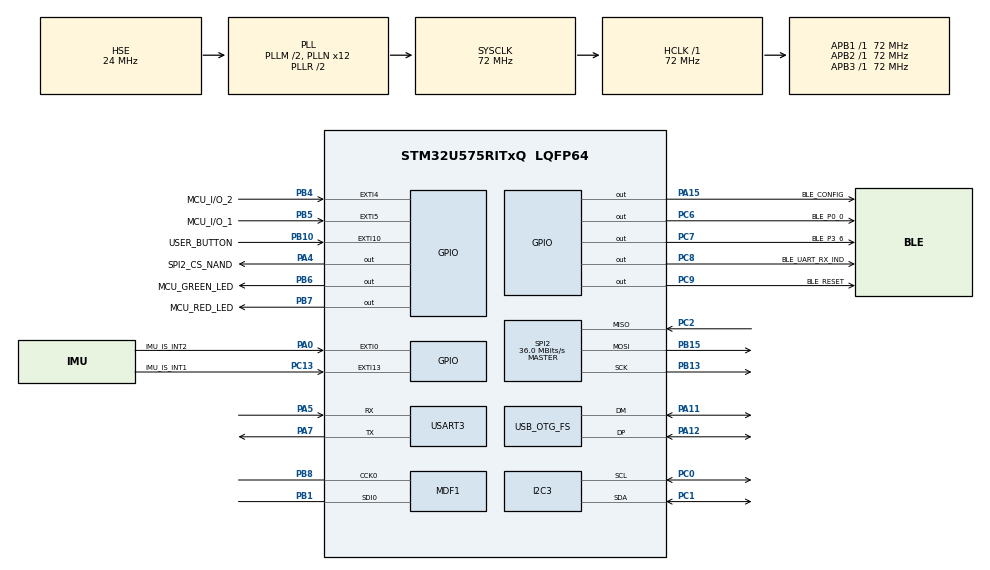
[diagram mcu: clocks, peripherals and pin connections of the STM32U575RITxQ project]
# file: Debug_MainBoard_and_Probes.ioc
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CORTEX_M33_NS.userName=CORTEX_M33
I2C3.Timing=0x10808DD3
MDF1.MDF_COMPARAM_ActivationClockTrigger=ENABLE
MDF1.MDF_COMPARAM_ActivationOutputClock=ENABLE
MDF1.MDF_COMPARAM_Divider=5
MDF1.MDF_COMPARAM_Pins=MDF_OUTPUT_CLOCK_ALL
MDF1.MDF_DFLT0_AcquisitionMode=MDF_MODE_SYNC_CONT
MDF1.MDF_DFLT0_CIC_Mode=MDF_ONE_FILTER_SINC5
MDF1.MDF_DFLT0_Decimation=16
MDF1.MDF_DFLT0_DiscardSamples=255
MDF1.MDF_DFLT0_Gain=1
MDF1.MDF_DFLT0_HighPassFilterActivation=ENABLE
MDF1.MDF_DFLT0_ReshapeFilterActivation=ENABLE
MDF1.MDF_SITF0_Mode_Display=MDF_SITF_NORMAL_SPI_MODE
MDF1.MDF_SITF0_Threshold=31
Mcu.Family=STM32U5
Mcu.Name=STM32U575RITxQ
Mcu.Package=LQFP64
NVIC.EXTI0_IRQn=true\:0\:0\:false\:false\:true\:true\:true\:true
NVIC.EXTI10_IRQn=true\:0\:0\:false\:false\:true\:true\:true\:true
NVIC.EXTI13_IRQn=true\:0\:0\:false\:false\:true\:true\:true\:true
NVIC.EXTI4_IRQn=true\:0\:0\:false\:false\:true\:true\:true\:true
NVIC.EXTI5_IRQn=true\:0\:0\:false\:false\:true\:true\:true\:true
NVIC.MDF1_FLT0_IRQn=true\:0\:0\:false\:false\:true\:true\:true\:true
NVIC.OTG_FS_IRQn=true\:0\:0\:false\:false\:true\:true\:true\:true
NVIC.PriorityGroup=NVIC_PRIORITYGROUP_4
NVIC.USART3_IRQn=true\:0\:0\:false\:false\:true\:true\:true\:true
PA0.GPIO_Label=IMU_IS_INT2
PA0.Signal=GPXTI0
PA11.GPIO_Speed=GPIO_SPEED_FREQ_VERY_HIGH
PA11.Mode=Device_Only
PA11.Signal=USB_OTG_FS_DM
PA12.GPIO_Speed=GPIO_SPEED_FREQ_VERY_HIGH
PA12.Mode=Device_Only
PA12.Signal=USB_OTG_FS_DP
PA13\ (JTMS/SWDIO).Mode=Trace_Asynchronous_SW
PA13\ (JTMS/SWDIO).Signal=DEBUG_JTMS-SWDIO
PA14\ (JTCK/SWCLK).Mode=Trace_Asynchronous_SW
PA14\ (JTCK/SWCLK).Signal=DEBUG_JTCK-SWCLK
PA15\ (JTDI).GPIO_Label=BLE_CONFIG
PA15\ (JTDI).PinState=GPIO_PIN_SET
PA15\ (JTDI).Signal=GPIO_Output
PA4.GPIO_Label=SPI2_CS_NAND
PA4.Signal=GPIO_Output
PA5.Mode=Asynchronous
PA5.Signal=USART3_RX
PA7.Mode=Asynchronous
PA7.Signal=USART3_TX
PA9.Signal=USB_OTG_FS_VBUS
PB1.GPIO_Speed=GPIO_SPEED_FREQ_VERY_HIGH
PB1.Mode=MOD_MDF_SITF0_CCK0
PB1.Signal=MDF1_SDI0
PB10.GPIO_Label=USER_BUTTON
PB10.GPIO_ModeDefaultEXTI=GPIO_MODE_IT_RISING_FALLING
PB10.GPIO_PuPd=GPIO_PULLDOWN
PB10.Signal=GPXTI10
PB13.Mode=Full_Duplex_Master
PB13.Signal=SPI2_SCK
PB15.Mode=Full_Duplex_Master
PB15.Signal=SPI2_MOSI
PB3\ (JTDO/TRACESWO).Mode=Trace_Asynchronous_SW
PB3\ (JTDO/TRACESWO).Signal=DEBUG_JTDO-SWO
PB4\ (NJTRST).GPIO_Label=MCU_I/O_2
PB4\ (NJTRST).Signal=GPXTI4
PB5.GPIO_Label=MCU_I/O_1
PB5.Signal=GPXTI5
PB6.GPIO_Label=MCU_GREEN_LED
PB6.Signal=GPIO_Output
PB7.GPIO_Label=MCU_RED_LED
PB7.Signal=GPIO_Output
PB8.GPIO_FM8=SYSCFG_FASTMODEPLUS_PB8
PB8.GPIO_Speed=GPIO_SPEED_FREQ_VERY_HIGH
PB8.Mode=MOD_MDF_CCK0
PB8.Signal=MDF1_CCK0
PC0.Mode=I2C
PC0.Signal=I2C3_SCL
PC1.Mode=I2C
PC1.Signal=I2C3_SDA
PC13.GPIO_Label=IMU_IS_INT1
PC13.Signal=GPXTI13
PC14-OSC32_IN\ (PC14).Mode=LSE-External-Oscillator
PC14-OSC32_IN\ (PC14).Signal=RCC_OSC32_IN
PC15-OSC32_OUT\ (PC15).Mode=LSE-External-Oscillator
PC15-OSC32_OUT\ (PC15).Signal=RCC_OSC32_OUT
PC2.Mode=Full_Duplex_Master
PC2.Signal=SPI2_MISO
PC6.GPIO_Label=BLE_P0_0
PC6.Signal=GPIO_Output
PC7.GPIO_Label=BLE_P3_6
PC7.Signal=GPIO_Output
PC8.GPIO_Label=BLE_UART_RX_IND
PC8.Signal=GPIO_Output
PC9.GPIO_Label=BLE_RESET
PC9.Signal=GPIO_Output
PH0-OSC_IN\ (PH0).Mode=HSE-External-Oscillator
PH0-OSC_IN\ (PH0).Signal=RCC_OSC_IN
PH1-OSC_OUT\ (PH1).Mode=HSE-External-Oscillator
PH1-OSC_OUT\ (PH1).Signal=RCC_OSC_OUT
ProjectManager.HeapSize=0x400
ProjectManager.StackSize=0x800
ProjectManager.TargetToolchain=CMake
RCC.ADCFreq_Value=16000000
RCC.AHBFreq_Value=72000000
RCC.APB1Freq_Value=72000000
RCC.APB1TimFreq_Value=72000000
RCC.APB2Freq_Value=72000000
RCC.APB2TimFreq_Value=72000000
RCC.APB3Freq_Value=72000000
RCC.CK48CLockSelection=RCC_CLK48CLKSOURCE_PLL1
RCC.CortexFreq_Value=72000000
RCC.EPOD_VALUE=24000000
RCC.HCLKFreq_Value=72000000
RCC.HSE_VALUE=24000000
RCC.HSI48_VALUE=48000000
RCC.HSI_VALUE=16000000
RCC.LSIDIV_VALUE=32000
RCC.MSIClockRange=RCC_MSIRANGE_0
RCC.MSI_VALUE=48000000
RCC.MdfClockSelection=RCC_MDF1CLKSOURCE_PLL3
RCC.PLL1Q=3
RCC.PLL2FRACN=0
RCC.PLL3FRACN=0
RCC.PLL3M=3
RCC.PLL3N=48
RCC.PLL3Q=25
RCC.PLL3Source=RCC_PLLSOURCE_HSE
RCC.PLLFRACN=0
RCC.PLLM=2
RCC.PLLN=12
RCC.PLLSourceVirtual=RCC_PLLSOURCE_HSE
RCC.SYSCLKFreq_VALUE=72000000
RCC.SYSCLKSource=RCC_SYSCLKSOURCE_PLLCLK
RCC.USBFreq_Value=48000000
RCC.VCOOutputFreq_Value=144000000
SPI2.CalculateBaudRate=36.0 MBits/s
SPI2.DataSize=SPI_DATASIZE_8BIT
SPI2.Direction=SPI_DIRECTION_2LINES
SPI2.Mode=SPI_MODE_MASTER
SPI2.VirtualType=VM_MASTER
USART3.VirtualMode-Asynchronous=VM_ASYNC
USB_OTG_FS.VirtualMode=Device_Only
VP_ICACHE_VS_ENABLE_ICACHE_MEMORY.Mode=Memoryregions
VP_LPBAMQUEUE_VS_QUEUE.Mode=QUEUEMODE
VP_LPBAM_VS_SIG1.Mode=SmartRun
VP_LPBAM_VS_SIG4.Mode=LPDMA1
VP_MDF1_VS_MDF_DFLT0.Mode=MOD_MDF_DFLT0
VP_MEMORYMAP_VS_MEMORYMAP.Mode=CurAppReg
VP_PWR_VS_SECSignals.Mode=Security/Privilege
board=custom

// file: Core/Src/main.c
/* USER CODE BEGIN Header */
/**
  ******************************************************************************
  * @file           : main.c
  * @brief          : Main program body
  ******************************************************************************
  * @attention
  *
  * Copyright (c) 2025 STMicroelectronics.
  * All rights reserved.
  *
  * This software is licensed under terms that can be found in the LICENSE file
  * in the root directory of this software component.
  * If no LICENSE file comes with this software, it is provided AS-IS.
  *
  ******************************************************************************
  */
/* USER CODE END Header */
#include "main.h"

/* USER CODE BEGIN Includes */
#include "string.h"
#include "stdio.h"
#include "peripheral_tests.h"
#include "../../USB_Device/App/usb_device.h"
#include "Bluetooth.h"
#include "SPI.h"
#include "SPI_NAND.h"
#include "SPI_DMA_NAND.h"
#include "led_driver.h"

/* USER CODE END Includes */

I2C_HandleTypeDef hi2c3;

MDF_HandleTypeDef MdfHandle0;
MDF_FilterConfigTypeDef MdfFilterConfig0;

SPI_HandleTypeDef hspi2;

UART_HandleTypeDef huart3;

PCD_HandleTypeDef hpcd_USB_OTG_FS;

/* USER CODE BEGIN PV */
/// ----- USB ----- ///
uint8_t flag = 0;
uint8_t sample_index = 0;
/* USER CODE END PV */

void SystemClock_Config(void);
static void MX_GPIO_Init(void);
static void MX_ICACHE_Init(void);
static void MX_I2C3_Init(void);
static void MX_USART3_UART_Init(void);
static void MX_USB_OTG_FS_PCD_Init(void);
static void MX_MDF1_Init(void);
static void MX_SPI2_Init(void);

int main(void)
{

  /* MCU Configuration--------------------------------------------------------*/

  /* Reset of all peripherals, Initializes the Flash interface and the Systick. */
  HAL_Init();

  /* Configure the system clock */
  SystemClock_Config();

  /* Initialize all configured peripherals */
  MX_GPIO_Init();
  MX_ICACHE_Init();
  MX_I2C3_Init();
  MX_USART3_UART_Init();
  MX_USB_OTG_FS_PCD_Init();
  MX_MDF1_Init();
  MX_SPI2_Init();
  /* USER CODE BEGIN 2 */
   BLE_Initialize();  // BLE initial setup

   MX_USB_Device_Init(); // USB initial setup
   spi_nand_init(); // NAND initial setup

   LED_On(LED_GREEN);
   LED_On(LED_RED);

   HAL_Delay(1000);

   LED_Off(LED_GREEN);
   LED_Off(LED_RED);

	#if RUN_BLE_TEST
		test_BLE(&huart3);
		HAL_Delay(1000);
	#endif

  /* USER CODE END 2 */

  /* Infinite loop */
  while (1)
  {

    /* USER CODE BEGIN 3 */
		#if RUN_USB_TEST
		   test_USB_TX();
		#endif

		#if RUN_NAND_TEST
		   test_NAND();
		#endif

		#if RUN_IMU_IS_TEST
		   test_IMU_IS(&hi2c3);
		#endif
  }
  /* USER CODE END 3 */
}

void SystemClock_Config(void)
{
  RCC_OscInitTypeDef RCC_OscInitStruct = {0};
  RCC_ClkInitTypeDef RCC_ClkInitStruct = {0};

  /** Configure the main internal regulator output voltage
  */
  if (HAL_PWREx_ControlVoltageScaling(PWR_REGULATOR_VOLTAGE_SCALE2) != HAL_OK)
  {
    Error_Handler();
  }

  /** Initializes the CPU, AHB and APB buses clocks
  */
  RCC_OscInitStruct.OscillatorType = RCC_OSCILLATORTYPE_HSE;
  RCC_OscInitStruct.HSEState = RCC_HSE_ON;
  RCC_OscInitStruct.PLL.PLLState = RCC_PLL_ON;
  RCC_OscInitStruct.PLL.PLLSource = RCC_PLLSOURCE_HSE;
  RCC_OscInitStruct.PLL.PLLMBOOST = RCC_PLLMBOOST_DIV2;
  RCC_OscInitStruct.PLL.PLLM = 2;
  RCC_OscInitStruct.PLL.PLLN = 12;
  RCC_OscInitStruct.PLL.PLLP = 2;
  RCC_OscInitStruct.PLL.PLLQ = 3;
  RCC_OscInitStruct.PLL.PLLR = 2;
  RCC_OscInitStruct.PLL.PLLRGE = RCC_PLLVCIRANGE_1;
  RCC_OscInitStruct.PLL.PLLFRACN = 0;
  if (HAL_RCC_OscConfig(&RCC_OscInitStruct) != HAL_OK)
  {
    Error_Handler();
  }

  /** Initializes the CPU, AHB and APB buses clocks
  */
  RCC_ClkInitStruct.ClockType = RCC_CLOCKTYPE_HCLK|RCC_CLOCKTYPE_SYSCLK
                              |RCC_CLOCKTYPE_PCLK1|RCC_CLOCKTYPE_PCLK2
                              |RCC_CLOCKTYPE_PCLK3;
  RCC_ClkInitStruct.SYSCLKSource = RCC_SYSCLKSOURCE_PLLCLK;
  RCC_ClkInitStruct.AHBCLKDivider = RCC_SYSCLK_DIV1;
  RCC_ClkInitStruct.APB1CLKDivider = RCC_HCLK_DIV1;
  RCC_ClkInitStruct.APB2CLKDivider = RCC_HCLK_DIV1;
  RCC_ClkInitStruct.APB3CLKDivider = RCC_HCLK_DIV1;

  if (HAL_RCC_ClockConfig(&RCC_ClkInitStruct, FLASH_LATENCY_2) != HAL_OK)
  {
    Error_Handler();
  }
}

static void MX_I2C3_Init(void)
{

  hi2c3.Instance = I2C3;
  hi2c3.Init.Timing = 0x10808DD3;
  hi2c3.Init.OwnAddress1 = 0;
  hi2c3.Init.AddressingMode = I2C_ADDRESSINGMODE_7BIT;
  hi2c3.Init.DualAddressMode = I2C_DUALADDRESS_DISABLE;
  hi2c3.Init.OwnAddress2 = 0;
  hi2c3.Init.OwnAddress2Masks = I2C_OA2_NOMASK;
  hi2c3.Init.GeneralCallMode = I2C_GENERALCALL_DISABLE;
  hi2c3.Init.NoStretchMode = I2C_NOSTRETCH_DISABLE;
  if (HAL_I2C_Init(&hi2c3) != HAL_OK)
  {
    Error_Handler();
  }

  /** Configure Analogue filter
  */
  if (HAL_I2CEx_ConfigAnalogFilter(&hi2c3, I2C_ANALOGFILTER_ENABLE) != HAL_OK)
  {
    Error_Handler();
  }

  /** Configure Digital filter
  */
  if (HAL_I2CEx_ConfigDigitalFilter(&hi2c3, 0) != HAL_OK)
  {
    Error_Handler();
  }

}

static void MX_ICACHE_Init(void)
{

}

static void MX_MDF1_Init(void)
{

  /**
    MdfHandle0 structure initialization and HAL_MDF_Init function call
  */
  MdfHandle0.Instance = MDF1_Filter0;
  MdfHandle0.Init.CommonParam.InterleavedFilters = 0;
  MdfHandle0.Init.CommonParam.ProcClockDivider = 1;
  MdfHandle0.Init.CommonParam.OutputClock.Activation = ENABLE;
  MdfHandle0.Init.CommonParam.OutputClock.Pins = MDF_OUTPUT_CLOCK_ALL;
  MdfHandle0.Init.CommonParam.OutputClock.Divider = 5;
  MdfHandle0.Init.CommonParam.OutputClock.Trigger.Activation = ENABLE;
  MdfHandle0.Init.CommonParam.OutputClock.Trigger.Source = MDF_CLOCK_TRIG_TRGO;
  MdfHandle0.Init.CommonParam.OutputClock.Trigger.Edge = MDF_CLOCK_TRIG_FALLING_EDGE;
  MdfHandle0.Init.SerialInterface.Activation = ENABLE;
  MdfHandle0.Init.SerialInterface.Mode = MDF_SITF_NORMAL_SPI_MODE;
  MdfHandle0.Init.SerialInterface.ClockSource = MDF_SITF_CCK0_SOURCE;
  MdfHandle0.Init.SerialInterface.Threshold = 31;
  MdfHandle0.Init.FilterBistream = MDF_BITSTREAM0_RISING;
  if (HAL_MDF_Init(&MdfHandle0) != HAL_OK)
  {
    Error_Handler();
  }

  /**
    MdfFilterConfig0, MdfOldConfig0 and/or MdfScdConfig0 structures initialization

    WARNING : only structures are filled, no specific init function call for filter
  */
  MdfFilterConfig0.DataSource = MDF_DATA_SOURCE_BSMX;
  MdfFilterConfig0.Delay = 0;
  MdfFilterConfig0.CicMode = MDF_ONE_FILTER_SINC5;
  MdfFilterConfig0.DecimationRatio = 16;
  MdfFilterConfig0.Offset = 0;
  MdfFilterConfig0.Gain = 1;
  MdfFilterConfig0.ReshapeFilter.Activation = ENABLE;
  MdfFilterConfig0.ReshapeFilter.DecimationRatio = MDF_RSF_DECIMATION_RATIO_4;
  MdfFilterConfig0.HighPassFilter.Activation = ENABLE;
  MdfFilterConfig0.HighPassFilter.CutOffFrequency = MDF_HPF_CUTOFF_0_000625FPCM;
  MdfFilterConfig0.Integrator.Activation = DISABLE;
  MdfFilterConfig0.SoundActivity.Activation = DISABLE;
  MdfFilterConfig0.AcquisitionMode = MDF_MODE_SYNC_CONT;
  MdfFilterConfig0.FifoThreshold = MDF_FIFO_THRESHOLD_NOT_EMPTY;
  MdfFilterConfig0.DiscardSamples = 255;
  MdfFilterConfig0.Trigger.Source = MDF_CLOCK_TRIG_TRGO;
  MdfFilterConfig0.Trigger.Edge = MDF_FILTER_TRIG_RISING_EDGE;

}

static void MX_SPI2_Init(void)
{

  SPI_AutonomousModeConfTypeDef HAL_SPI_AutonomousMode_Cfg_Struct = {0};

  /* SPI2 parameter configuration*/
  hspi2.Instance = SPI2;
  hspi2.Init.Mode = SPI_MODE_MASTER;
  hspi2.Init.Direction = SPI_DIRECTION_2LINES;
  hspi2.Init.DataSize = SPI_DATASIZE_8BIT;
  hspi2.Init.CLKPolarity = SPI_POLARITY_LOW;
  hspi2.Init.CLKPhase = SPI_PHASE_1EDGE;
  hspi2.Init.NSS = SPI_NSS_SOFT;
  hspi2.Init.BaudRatePrescaler = SPI_BAUDRATEPRESCALER_2;
  hspi2.Init.FirstBit = SPI_FIRSTBIT_MSB;
  hspi2.Init.TIMode = SPI_TIMODE_DISABLE;
  hspi2.Init.CRCCalculation = SPI_CRCCALCULATION_DISABLE;
  hspi2.Init.CRCPolynomial = 0x7;
  hspi2.Init.NSSPMode = SPI_NSS_PULSE_ENABLE;
  hspi2.Init.NSSPolarity = SPI_NSS_POLARITY_LOW;
  hspi2.Init.FifoThreshold = SPI_FIFO_THRESHOLD_01DATA;
  hspi2.Init.MasterSSIdleness = SPI_MASTER_SS_IDLENESS_00CYCLE;
  hspi2.Init.MasterInterDataIdleness = SPI_MASTER_INTERDATA_IDLENESS_00CYCLE;
  hspi2.Init.MasterReceiverAutoSusp = SPI_MASTER_RX_AUTOSUSP_DISABLE;
  hspi2.Init.MasterKeepIOState = SPI_MASTER_KEEP_IO_STATE_DISABLE;
  hspi2.Init.IOSwap = SPI_IO_SWAP_DISABLE;
  hspi2.Init.ReadyMasterManagement = SPI_RDY_MASTER_MANAGEMENT_INTERNALLY;
  hspi2.Init.ReadyPolarity = SPI_RDY_POLARITY_HIGH;
  if (HAL_SPI_Init(&hspi2) != HAL_OK)
  {
    Error_Handler();
  }
  HAL_SPI_AutonomousMode_Cfg_Struct.TriggerState = SPI_AUTO_MODE_DISABLE;
  HAL_SPI_AutonomousMode_Cfg_Struct.TriggerSelection = SPI_GRP1_GPDMA_CH0_TCF_TRG;
  HAL_SPI_AutonomousMode_Cfg_Struct.TriggerPolarity = SPI_TRIG_POLARITY_RISING;
  if (HAL_SPIEx_SetConfigAutonomousMode(&hspi2, &HAL_SPI_AutonomousMode_Cfg_Struct) != HAL_OK)
  {
    Error_Handler();
  }

}

static void MX_USART3_UART_Init(void)
{

  huart3.Instance = USART3;
  huart3.Init.BaudRate = 115200;
  huart3.Init.WordLength = UART_WORDLENGTH_8B;
  huart3.Init.StopBits = UART_STOPBITS_1;
  huart3.Init.Parity = UART_PARITY_NONE;
  huart3.Init.Mode = UART_MODE_TX_RX;
  huart3.Init.HwFlowCtl = UART_HWCONTROL_NONE;
  huart3.Init.OverSampling = UART_OVERSAMPLING_16;
  huart3.Init.OneBitSampling = UART_ONE_BIT_SAMPLE_DISABLE;
  huart3.Init.ClockPrescaler = UART_PRESCALER_DIV1;
  huart3.AdvancedInit.AdvFeatureInit = UART_ADVFEATURE_NO_INIT;
  if (HAL_UART_Init(&huart3) != HAL_OK)
  {
    Error_Handler();
  }
  if (HAL_UARTEx_SetTxFifoThreshold(&huart3, UART_TXFIFO_THRESHOLD_1_8) != HAL_OK)
  {
    Error_Handler();
  }
  if (HAL_UARTEx_SetRxFifoThreshold(&huart3, UART_RXFIFO_THRESHOLD_1_8) != HAL_OK)
  {
    Error_Handler();
  }
  if (HAL_UARTEx_DisableFifoMode(&huart3) != HAL_OK)
  {
    Error_Handler();
  }

}

static void MX_USB_OTG_FS_PCD_Init(void)
{

  hpcd_USB_OTG_FS.Instance = USB_OTG_FS;
  hpcd_USB_OTG_FS.Init.dev_endpoints = 6;
  hpcd_USB_OTG_FS.Init.speed = PCD_SPEED_FULL;
  hpcd_USB_OTG_FS.Init.phy_itface = PCD_PHY_EMBEDDED;
  hpcd_USB_OTG_FS.Init.Sof_enable = DISABLE;
  hpcd_USB_OTG_FS.Init.low_power_enable = DISABLE;
  hpcd_USB_OTG_FS.Init.lpm_enable = DISABLE;
  hpcd_USB_OTG_FS.Init.battery_charging_enable = DISABLE;
  hpcd_USB_OTG_FS.Init.use_dedicated_ep1 = DISABLE;
  hpcd_USB_OTG_FS.Init.vbus_sensing_enable = DISABLE;
  hpcd_USB_OTG_FS.Init.dma_enable = DISABLE;
  if (HAL_PCD_Init(&hpcd_USB_OTG_FS) != HAL_OK)
  {
    Error_Handler();
  }

}

static void MX_GPIO_Init(void)
{
  GPIO_InitTypeDef GPIO_InitStruct = {0};

  /* GPIO Ports Clock Enable */
  __HAL_RCC_GPIOC_CLK_ENABLE();
  __HAL_RCC_GPIOH_CLK_ENABLE();
  __HAL_RCC_GPIOA_CLK_ENABLE();
  __HAL_RCC_GPIOB_CLK_ENABLE();

  /*Configure GPIO pin Output Level */
  HAL_GPIO_WritePin(SPI2_CS_NAND_GPIO_Port, SPI2_CS_NAND_Pin, GPIO_PIN_RESET);

  /*Configure GPIO pin Output Level */
  HAL_GPIO_WritePin(GPIOC, BLE_P0_0_Pin|BLE_P3_6_Pin|BLE_UART_RX_IND_Pin|BLE_RESET_Pin, GPIO_PIN_RESET);

  /*Configure GPIO pin Output Level */
  HAL_GPIO_WritePin(BLE_CONFIG_GPIO_Port, BLE_CONFIG_Pin, GPIO_PIN_SET);

  /*Configure GPIO pin Output Level */
  HAL_GPIO_WritePin(GPIOB, MCU_GREEN_LED_Pin|MCU_RED_LED_Pin, GPIO_PIN_RESET);

  /*Configure GPIO pin : IMU_IS_INT1_Pin */
  GPIO_InitStruct.Pin = IMU_IS_INT1_Pin;
  GPIO_InitStruct.Mode = GPIO_MODE_IT_RISING;
  GPIO_InitStruct.Pull = GPIO_NOPULL;
  HAL_GPIO_Init(IMU_IS_INT1_GPIO_Port, &GPIO_InitStruct);

  /*Configure GPIO pin : IMU_IS_INT2_Pin */
  GPIO_InitStruct.Pin = IMU_IS_INT2_Pin;
  GPIO_InitStruct.Mode = GPIO_MODE_IT_RISING;
  GPIO_InitStruct.Pull = GPIO_NOPULL;
  HAL_GPIO_Init(IMU_IS_INT2_GPIO_Port, &GPIO_InitStruct);

  /*Configure GPIO pins : SPI2_CS_NAND_Pin BLE_CONFIG_Pin */
  GPIO_InitStruct.Pin = SPI2_CS_NAND_Pin|BLE_CONFIG_Pin;
  GPIO_InitStruct.Mode = GPIO_MODE_OUTPUT_PP;
  GPIO_InitStruct.Pull = GPIO_NOPULL;
  GPIO_InitStruct.Speed = GPIO_SPEED_FREQ_LOW;
  HAL_GPIO_Init(GPIOA, &GPIO_InitStruct);

  /*Configure GPIO pin : USER_BUTTON_Pin */
  GPIO_InitStruct.Pin = USER_BUTTON_Pin;
  GPIO_InitStruct.Mode = GPIO_MODE_IT_RISING_FALLING;
  GPIO_InitStruct.Pull = GPIO_PULLDOWN;
  HAL_GPIO_Init(USER_BUTTON_GPIO_Port, &GPIO_InitStruct);

  /*Configure GPIO pins : BLE_P0_0_Pin BLE_P3_6_Pin BLE_UART_RX_IND_Pin BLE_RESET_Pin */
  GPIO_InitStruct.Pin = BLE_P0_0_Pin|BLE_P3_6_Pin|BLE_UART_RX_IND_Pin|BLE_RESET_Pin;
  GPIO_InitStruct.Mode = GPIO_MODE_OUTPUT_PP;
  GPIO_InitStruct.Pull = GPIO_NOPULL;
  GPIO_InitStruct.Speed = GPIO_SPEED_FREQ_LOW;
  HAL_GPIO_Init(GPIOC, &GPIO_InitStruct);

  /*Configure GPIO pins : MCU_I_O_2_Pin MCU_I_O_1_Pin */
  GPIO_InitStruct.Pin = MCU_I_O_2_Pin|MCU_I_O_1_Pin;
  GPIO_InitStruct.Mode = GPIO_MODE_IT_RISING;
  GPIO_InitStruct.Pull = GPIO_NOPULL;
  HAL_GPIO_Init(GPIOB, &GPIO_InitStruct);

  /*Configure GPIO pins : MCU_GREEN_LED_Pin MCU_RED_LED_Pin */
  GPIO_InitStruct.Pin = MCU_GREEN_LED_Pin|MCU_RED_LED_Pin;
  GPIO_InitStruct.Mode = GPIO_MODE_OUTPUT_PP;
  GPIO_InitStruct.Pull = GPIO_NOPULL;
  GPIO_InitStruct.Speed = GPIO_SPEED_FREQ_LOW;
  HAL_GPIO_Init(GPIOB, &GPIO_InitStruct);

  /* EXTI interrupt init*/
  HAL_NVIC_SetPriority(EXTI0_IRQn, 0, 0);
  HAL_NVIC_EnableIRQ(EXTI0_IRQn);

  HAL_NVIC_SetPriority(EXTI4_IRQn, 0, 0);
  HAL_NVIC_EnableIRQ(EXTI4_IRQn);

  HAL_NVIC_SetPriority(EXTI5_IRQn, 0, 0);
  HAL_NVIC_EnableIRQ(EXTI5_IRQn);

  HAL_NVIC_SetPriority(EXTI10_IRQn, 0, 0);
  HAL_NVIC_EnableIRQ(EXTI10_IRQn);

  HAL_NVIC_SetPriority(EXTI13_IRQn, 0, 0);
  HAL_NVIC_EnableIRQ(EXTI13_IRQn);

}

/* USER CODE BEGIN 4 */
// Rising Edge when User Button is pressed
void HAL_GPIO_EXTI_Rising_Callback(uint16_t GPIO_Pin)
{
	if(GPIO_Pin == USER_BUTTON_Pin)
	{
		LED_On(LED_GREEN); // Turn Green LED ON when User Button is pressed
	}
}

// Falling Edge when User Button is not pressed
void HAL_GPIO_EXTI_Falling_Callback(uint16_t GPIO_Pin)
{
	if(GPIO_Pin == USER_BUTTON_Pin)
	{
		LED_Off(LED_GREEN); // Turn Green LED OFF when User Button is not pressed
	}
}

/* USER CODE END 4 */

void Error_Handler(void)
{
  __disable_irq();
  while (1)
  {
  }
}
